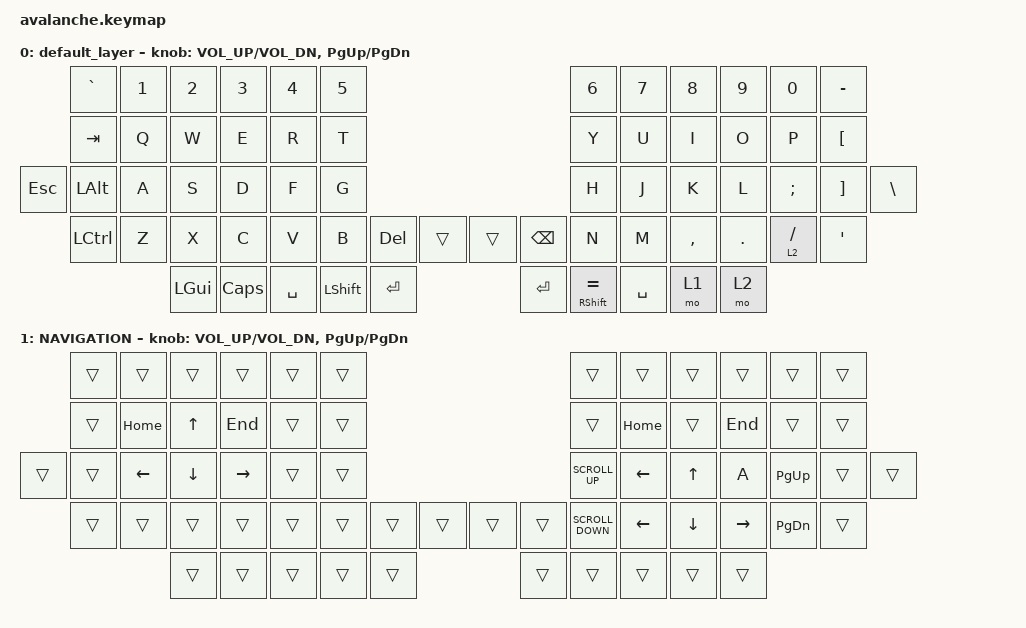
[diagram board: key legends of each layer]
#include <behaviors.dtsi>
#include <dt-bindings/zmk/keys.h>
#include <dt-bindings/zmk/bt.h>
#include <dt-bindings/zmk/ext_power.h>

/ {
    behaviors {
        bhm: balanced_homerow_mods {
            compatible = "zmk,behavior-hold-tap";
            #binding-cells = <2>;
            tapping-term-ms = <200>;

            // <---[[moderate duration]]

            quick-tap-ms = <0>;
            flavor = "balanced";
            bindings = <&kp>, <&kp>;
        };

        hm: homerow_mods {
            compatible = "zmk,behavior-hold-tap";
            #binding-cells = <2>;
            tapping-term-ms = <250>;
            flavor = "tap-preferred";
            bindings = <&kp>, <&kp>;
        };
    };

    keymap {
        compatible = "zmk,keymap";

        default_layer {
// ---------------------------------------------------------------------------------------------------------------------------------------------
//            |  `  |  1  |  2  |  3  |  4  |  5  |                                             |  6  |  7  |  8  |  9  |  0  |  '  |
//            | TAB |  Q  |  W  |  E  |  R  |  T  |                                             |  Y  |  U  |  I  |  O  |  P  |  [  | 
//    |  ESC  |CTRL |  A  |  S  |  D  |  F  |  G  |                                             |  H  |  J  |  K  |  L  |  ;  |  '  |  \   |
//            |SHIFT|  Z  |  X  |  C  |  V  |  B  |  DEL  |                              | BSPC |  N  |  M  |  ,  |  .  |  /  |  -  |
//                        | GUI | ALT |SPACE|RAISE| ENTER |                              | ENTER|  =  |SPACE|MO(1)|MO(2)|
// ---------------------------------------------------------------------------------------------------------------------------------------------
            bindings = <
              &kp GRAVE         &kp N1        &kp N2    &kp N3     &kp N4          &kp N5                                                                   &kp N6                  &kp N7     &kp N8     &kp N9      &kp N0          &kp MINUS
              &kp TAB           &kp Q         &kp W     &kp E      &kp R           &kp T                                                                    &kp Y                   &kp U      &kp I      &kp O       &kp P           &kp LEFT_BRACKET
    &kp ESC   &kp LEFT_ALT      &kp A         &kp S     &kp D      &kp F           &kp G                                                                    &kp H                   &kp J      &kp K      &kp L       &kp SEMICOLON   &kp RIGHT_BRACKET  &kp BACKSLASH
              &kp LEFT_CONTROL  &kp Z         &kp X     &kp C      &kp V           &kp B           &kp DELETE  &trans          &trans     &kp BACKSPACE     &kp N                   &kp M      &kp COMMA  &kp PERIOD  &lt 2 SLASH     &kp SQT
                                              &kp LGUI  &kp CAPS   &kp SPACE       &kp LEFT_SHIFT  &kp ENTER                              &kp ENTER         &hm RIGHT_SHIFT EQUAL   &kp SPACE  &mo 1      &mo 2
            >;

            sensor-bindings = <&inc_dec_kp C_VOL_UP C_VOL_DN &inc_dec_kp PG_UP PG_DN>;
        };

        NAVIGATION {
// ---------------------------------------------------------------------------------------------------------------------------------------------
//            |     |     |     |     |     |     |                                          |     |     |     |     |     |     |
//            |     | HOME|  UP | END |     |     |                                          |     |HOME |     |END  |     |     |
//       |    |     | LEFT| DOWN|RIGHT|     |     |                                          |SCLUP|LEFT |  UP |  A  |PG_UP|     |    |
//            |     |     |     |     |     |     |     |                              |     |SCLDN|LEFT | DOWN|RIGHT|PG_DN|     |
//                        |     |     |     |     |     |                              |     |     |     |     |     |
// ---------------------------------------------------------------------------------------------------------------------------------------------
            bindings = <
              &trans  &trans    &trans    &trans    &trans     &trans                                           &trans            &trans           &trans         &trans        &trans          &trans
              &trans  &kp HOME  &kp UP    &kp END   &trans     &trans                                           &trans            &kp HOME         &trans         &kp END       &trans          &trans
      &trans  &trans  &kp LEFT  &kp DOWN  &kp RIGHT &trans     &trans                                           &kp K_SCROLL_UP   &kp LEFT         &kp UP_ARROW   &kp A         &kp PAGE_UP     &trans         &trans
              &trans  &trans    &trans    &trans    &trans     &trans  &trans  &trans           &trans  &trans  &kp K_SCROLL_DOWN &kp LEFT         &kp DOWN       &kp RIGHT     &kp PAGE_DOWN   &trans
                                &trans    &trans    &trans     &trans  &trans                   &trans  &trans  &trans            &trans           &trans
            >;

            sensor-bindings = <&inc_dec_kp C_VOL_UP C_VOL_DN &inc_dec_kp PG_UP PG_DN>;
        };
    };
};

